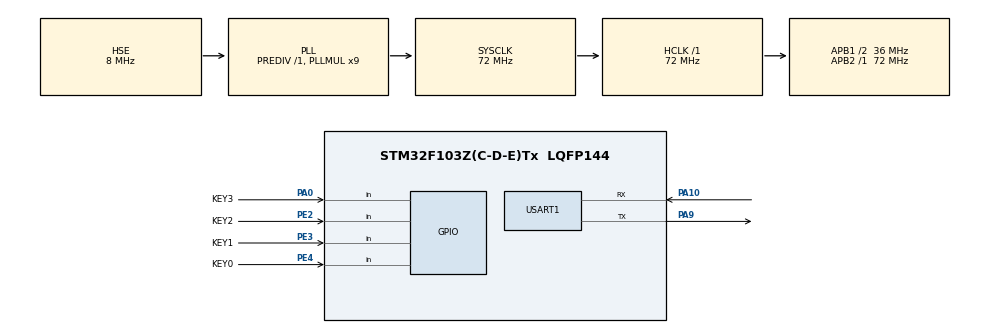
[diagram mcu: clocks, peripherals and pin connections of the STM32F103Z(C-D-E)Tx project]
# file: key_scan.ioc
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Mcu.Family=STM32F1
Mcu.Name=STM32F103Z(C-D-E)Tx
Mcu.Package=LQFP144
NVIC.PriorityGroup=NVIC_PRIORITYGROUP_4
NVIC.TIM6_IRQn=true\:0\:0\:false\:false\:true\:true\:true\:true
OSC_IN.Mode=HSE-External-Oscillator
OSC_IN.Signal=RCC_OSC_IN
OSC_OUT.Mode=HSE-External-Oscillator
OSC_OUT.Signal=RCC_OSC_OUT
PA0-WKUP.GPIO_Label=KEY3
PA0-WKUP.GPIO_PuPd=GPIO_PULLDOWN
PA0-WKUP.Signal=GPIO_Input
PA10.Mode=Asynchronous
PA10.Signal=USART1_RX
PA13.Mode=Serial_Wire
PA13.Signal=SYS_JTMS-SWDIO
PA14.Mode=Serial_Wire
PA14.Signal=SYS_JTCK-SWCLK
PA9.Mode=Asynchronous
PA9.Signal=USART1_TX
PC14-OSC32_IN.Mode=LSE-External-Oscillator
PC14-OSC32_IN.Signal=RCC_OSC32_IN
PC15-OSC32_OUT.Mode=LSE-External-Oscillator
PC15-OSC32_OUT.Signal=RCC_OSC32_OUT
PE2.GPIO_Label=KEY2
PE2.GPIO_PuPd=GPIO_PULLUP
PE2.Signal=GPIO_Input
PE3.GPIO_Label=KEY1
PE3.GPIO_PuPd=GPIO_PULLUP
PE3.Signal=GPIO_Input
PE4.GPIO_Label=KEY0
PE4.GPIO_PuPd=GPIO_PULLUP
PE4.Signal=GPIO_Input
ProjectManager.HeapSize=0x200
ProjectManager.StackSize=0x400
ProjectManager.TargetToolchain=MDK-ARM V5.32
RCC.AHBFreq_Value=72000000
RCC.APB1CLKDivider=RCC_HCLK_DIV2
RCC.APB1Freq_Value=36000000
RCC.APB1TimFreq_Value=72000000
RCC.APB2Freq_Value=72000000
RCC.APB2TimFreq_Value=72000000
RCC.HCLKFreq_Value=72000000
RCC.PLLMUL=RCC_PLL_MUL9
RCC.PLLSourceVirtual=RCC_PLLSOURCE_HSE
RCC.SYSCLKFreq_VALUE=72000000
RCC.SYSCLKSource=RCC_SYSCLKSOURCE_PLLCLK
RCC.USBFreq_Value=72000000
TIM6.Period=99
TIM6.Prescaler=719
USART1.VirtualMode=VM_ASYNC
VP_TIM6_VS_ClockSourceINT.Mode=Enable_Timer
board=custom

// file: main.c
/* USER CODE BEGIN Header */
/**
  ******************************************************************************
  * @file           : main.c
  * @brief          : Main program body
  ******************************************************************************
  * @attention
  *
  * Copyright (c) 2025 STMicroelectronics.
  * All rights reserved.
  *
  * This software is licensed under terms that can be found in the LICENSE file
  * in the root directory of this software component.
  * If no LICENSE file comes with this software, it is provided AS-IS.
  *
  ******************************************************************************
  */
/* USER CODE END Header */
#include "main.h"
#include "tim.h"
#include "usart.h"
#include "gpio.h"

/* USER CODE BEGIN Includes */
#include "stdio.h"

/* USER CODE END Includes */

/* USER CODE BEGIN PTD */
typedef struct {
    GPIO_TypeDef *port;
    uint16_t      pin;
    uint8_t       stable_state;    // 0 or 1
    uint8_t       current_state;
    uint8_t       last_state;
    uint8_t       debounce_counter;
    uint8_t       pressed_event;   // 1 = just pressed
} Key_t;

/* USER CODE END PTD */

/* USER CODE BEGIN PD */
#define NUM_KEYS    3
#define DEBOUNCE_MS 20

/* USER CODE END PD */

/* USER CODE BEGIN PV */
Key_t keys[NUM_KEYS] = {
    {KEY0_GPIO_Port, KEY0_Pin, 1, 1, 1, 0, 0},
    {KEY1_GPIO_Port, KEY1_Pin, 1, 1, 1, 0, 0},
    {KEY2_GPIO_Port, KEY2_Pin, 1, 1, 1, 0, 0}
};

/* USER CODE END PV */

void SystemClock_Config(void);
/* USER CODE BEGIN PFP */
void check_keys(void);

/* USER CODE END PFP */

int main(void)
{

  /* MCU Configuration--------------------------------------------------------*/

  /* Reset of all peripherals, Initializes the Flash interface and the Systick. */
  HAL_Init();

  /* Configure the system clock */
  SystemClock_Config();

  /* Initialize all configured peripherals */
  MX_GPIO_Init();
  MX_TIM6_Init();
  MX_USART1_UART_Init();
  /* USER CODE BEGIN 2 */
  HAL_TIM_Base_Start_IT(&htim6);

  /* USER CODE END 2 */

  /* Infinite loop */
  while (1)
  {

    /* USER CODE BEGIN 3 */
    check_keys();
  }
  /* USER CODE END 3 */
}

void SystemClock_Config(void)
{
  RCC_OscInitTypeDef RCC_OscInitStruct = {0};
  RCC_ClkInitTypeDef RCC_ClkInitStruct = {0};

  /** Initializes the RCC Oscillators according to the specified parameters
  * in the RCC_OscInitTypeDef structure.
  */
  RCC_OscInitStruct.OscillatorType = RCC_OSCILLATORTYPE_HSE;
  RCC_OscInitStruct.HSEState = RCC_HSE_ON;
  RCC_OscInitStruct.HSEPredivValue = RCC_HSE_PREDIV_DIV1;
  RCC_OscInitStruct.HSIState = RCC_HSI_ON;
  RCC_OscInitStruct.PLL.PLLState = RCC_PLL_ON;
  RCC_OscInitStruct.PLL.PLLSource = RCC_PLLSOURCE_HSE;
  RCC_OscInitStruct.PLL.PLLMUL = RCC_PLL_MUL9;
  if (HAL_RCC_OscConfig(&RCC_OscInitStruct) != HAL_OK)
  {
    Error_Handler();
  }

  /** Initializes the CPU, AHB and APB buses clocks
  */
  RCC_ClkInitStruct.ClockType = RCC_CLOCKTYPE_HCLK|RCC_CLOCKTYPE_SYSCLK
                              |RCC_CLOCKTYPE_PCLK1|RCC_CLOCKTYPE_PCLK2;
  RCC_ClkInitStruct.SYSCLKSource = RCC_SYSCLKSOURCE_PLLCLK;
  RCC_ClkInitStruct.AHBCLKDivider = RCC_SYSCLK_DIV1;
  RCC_ClkInitStruct.APB1CLKDivider = RCC_HCLK_DIV2;
  RCC_ClkInitStruct.APB2CLKDivider = RCC_HCLK_DIV1;

  if (HAL_RCC_ClockConfig(&RCC_ClkInitStruct, FLASH_LATENCY_2) != HAL_OK)
  {
    Error_Handler();
  }
}

/* USER CODE BEGIN 4 */
void HAL_TIM_PeriodElapsedCallback(TIM_HandleTypeDef *htim)
{
    if (htim->Instance == TIM6) {
        for (int i = 0; i < NUM_KEYS; i++) {
            keys[i].current_state = HAL_GPIO_ReadPin(keys[i].port, keys[i].pin);
            if (keys[i].current_state != keys[i].last_state) {
                keys[i].debounce_counter = 0;
            } else {
                if (keys[i].debounce_counter < DEBOUNCE_MS) {
                    keys[i].debounce_counter++;
                } else {
                    if (keys[i].stable_state != keys[i].current_state) {
                        keys[i].stable_state = keys[i].current_state;
                        if (keys[i].stable_state == 0) { // Active low
                            keys[i].pressed_event = 1;
                        }
                    }
                }
            }
            keys[i].last_state = keys[i].current_state;
        }
    }
}

void check_keys(void)
{
    for (int i = 0; i < NUM_KEYS; i++) {
        if (keys[i].pressed_event) {
            keys[i].pressed_event = 0;
            // Process key press
            printf("Key %d pressed!\n", i);
        }
    }
}

int fputc(int ch, FILE *f) {
    HAL_UART_Transmit(&huart1, (uint8_t *)&ch, 1, HAL_MAX_DELAY);
    return ch;
}

/* USER CODE END 4 */

void Error_Handler(void)
{
  __disable_irq();
  while (1)
  {
  }
}
